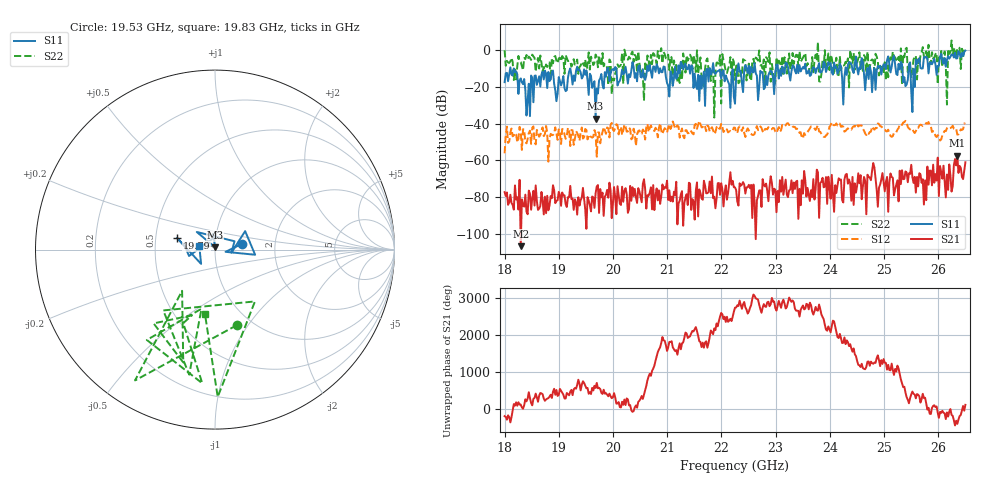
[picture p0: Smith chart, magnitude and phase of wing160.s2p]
!Keysight Technologies,N5242B,MY47200105,A.14.00.23
!Date: Friday, May 10, 2024 11:05:25
!Correction: S11(C  2-Port  )
!S21(C  2-Port  )
!S12(C  2-Port  )
!S22(C  2-Port  )
!S2P File: Measurement: :
# Hz S  RI  R 50
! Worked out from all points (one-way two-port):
!   401 points, 18 GHz to 26.5 GHz, reference 50 ohm
!   highest |S21| = -57.48 dB at 26.35 GHz (marker M1); lowest = -106.5 dB at 18.3 GHz (marker M2)
!   lowest |S11| = -37.4 dB at 19.68 GHz (marker M3), VSWR 1.03, Z = 50 + j1.35 ohm
!   |S11| at or under -10 dB: 18.11 GHz to 19.33 GHz (1.221 GHz wide, 6.52 % of centre); 19.35 GHz to 19.9 GHz (549.6 MHz wide, 2.8 % of centre); 21.86 GHz to 22.3 GHz (439.7 MHz wide, 1.99 % of centre) (the widest 3 of 59)
!   |S22| runs from -36.7 to 5.1 dB; largest |S21 - S12| = 0.012
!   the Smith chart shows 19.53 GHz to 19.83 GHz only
!   S11 on the Smith chart (normalised r, x): 19.53 GHz: 1.34, +0.08; 19.79 GHz: 0.65, +0.09; 19.83 GHz: 0.84, +0.03
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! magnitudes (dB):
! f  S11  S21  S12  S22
! 18 GHz  -17.5  -77.2  -56.1  -0.2
! 18.3 GHz  -15.5  -106.5  -44.5  -6.6
! 18.43 GHz  -27.5  -89.2  -48.3  -4.9
! 18.72 GHz  -16.0  -89.3  -46.8  -9.3
! 19.42 GHz  -15.5  -80.2  -42.1  -6.4
! 19.53 GHz  -16.4  -79.9  -48.6  -7.2
! 19.68 GHz  -37.4  -77.8  -45.4  -2.5
! 19.79 GHz  -13.1  -80.0  -47.2  -8.8
! 19.83 GHz  -20.9  -90.1  -41.9  -8.9
! 20.38 GHz  -9.3  -79.3  -42.8  -6.6
! 20.55 GHz  -10.4  -72.7  -43.3  -13.8
! 20.85 GHz  -12.7  -76.2  -42.1  -4.6
! 21.23 GHz  -12.7  -81.9  -47.6  -18.0
! 21.4 GHz  -8.1  -72.1  -45.1  -4.4
! 21.85 GHz  -7.2  -80.5  -43.5  -8.9
! 22.25 GHz  -29.2  -74.6  -42.2  -16.3
! 23.67 GHz  -10.5  -79.9  -41.5  -3.9
! 25.1 GHz  -8.1  -71.7  -45.3  -5.9
! 25.52 GHz  -33.7  -69.1  -43.1  -10.0
! 25.63 GHz  -5.5  -74.1  -42.3  -5.0
! 26.35 GHz  -4.5  -57.5  -46.0  1.2
! 26.5 GHz  -0.4  -61.0  -40.2  0.6
